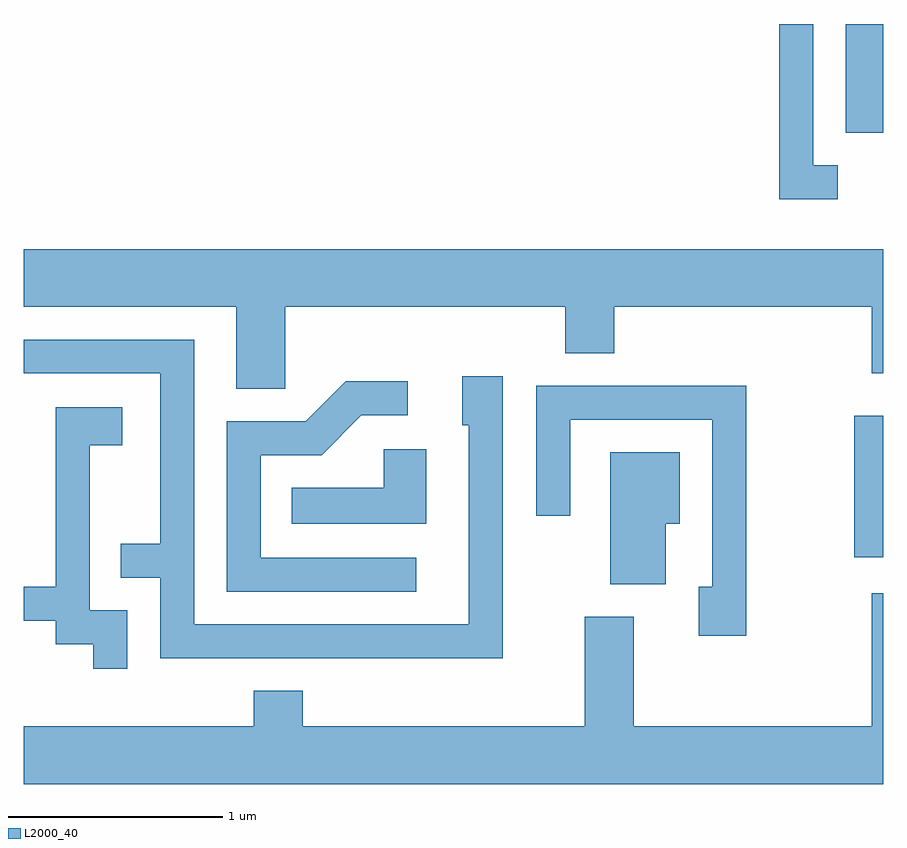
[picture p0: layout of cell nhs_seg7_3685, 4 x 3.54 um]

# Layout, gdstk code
import gdstk
lib = gdstk.Library(unit=1e-6, precision=1e-09)
def R(c, l, rs):  # rectangles x0, y0, x1, y1
    for r in rs: c.add(gdstk.rectangle(r[:2], r[2:], *l))
def P(c, l, *ps):  # polygons
    for p in ps: c.add(gdstk.Polygon(p, *l))
L2000_40 = (2000, 40)

nhs_seg7_3685 = lib.new_cell('nhs_seg7_3685')
R(nhs_seg7_3685, L2000_40, [(301.476,1759.771,301.611,1760.429), (301.436,1761.746,301.611,1762.252)])
P(nhs_seg7_3685, L2000_40, [(301.398,1761.594),(301.284,1761.594),(301.284,1762.252),(301.126,1762.252),(301.126,1761.436),(301.398,1761.436)],
  [(298.829,1760.936),(300.131,1760.936),(300.131,1760.721),(300.359,1760.721),(300.359,1760.936),(301.556,1760.936),(301.556,1760.626),(301.611,1760.626),(301.611,1761.204),(297.611,1761.204),(297.611,1760.936),(298.601,1760.936),(298.601,1760.556),(298.829,1760.556)],
  [(299.839,1760.614),(299.651,1760.614),(299.651,1760.386),(299.681,1760.386),(299.681,1759.459),(298.404,1759.459),(298.404,1760.784),(297.611,1760.784),(297.611,1760.626),(298.246,1760.626),(298.246,1759.834),(298.063,1759.834),(298.063,1759.676),(298.246,1759.676),(298.246,1759.301),(299.839,1759.301)],
  [(299.438,1759.769),(298.714,1759.769),(298.714,1760.246),(298.997,1760.246),(299.182,1760.431),(299.398,1760.431),(299.398,1760.589),(299.109,1760.589),(298.924,1760.404),(298.556,1760.404),(298.556,1759.611),(299.438,1759.611)],
  [(300.974,1760.569),(299.996,1760.569),(299.996,1759.963),(300.154,1759.963),(300.154,1760.411),(300.816,1760.411),(300.816,1759.634),(300.751,1759.634),(300.751,1759.406),(300.974,1759.406)],
  [(298.094,1759.524),(297.919,1759.524),(297.919,1760.291),(298.069,1760.291),(298.069,1760.469),(297.761,1760.469),(297.761,1759.634),(297.611,1759.634),(297.611,1759.476),(297.761,1759.476),(297.761,1759.366),(297.936,1759.366),(297.936,1759.253),(298.094,1759.253)],
  [(299.484,1760.274),(299.286,1760.274),(299.286,1760.094),(298.858,1760.094),(298.858,1759.926),(299.484,1759.926)],
  [(300.599,1759.926),(300.664,1759.926),(300.664,1760.259),(300.341,1760.259),(300.341,1759.646),(300.599,1759.646)],
  [(301.611,1759.604),(301.556,1759.604),(301.556,1758.984),(300.449,1758.984),(300.449,1759.494),(300.221,1759.494),(300.221,1758.984),(298.909,1758.984),(298.909,1759.149),(298.681,1759.149),(298.681,1758.984),(297.611,1758.984),(297.611,1758.716),(301.611,1758.716)])

lib.write_gds('nhs_seg7_3685.gds')
